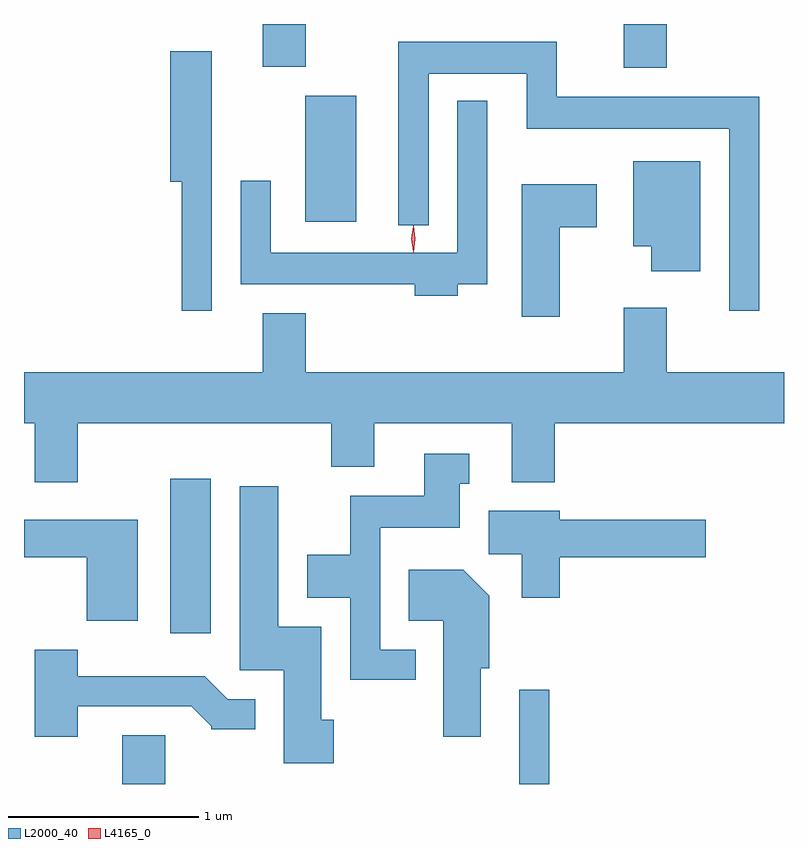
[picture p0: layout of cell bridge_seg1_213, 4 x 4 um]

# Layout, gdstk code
import gdstk
lib = gdstk.Library(unit=1e-6, precision=1e-09)
def R(c, l, rs):  # rectangles x0, y0, x1, y1
    for r in rs: c.add(gdstk.rectangle(r[:2], r[2:], *l))
def P(c, l, *ps):  # polygons
    for p in ps: c.add(gdstk.Polygon(p, *l))
L2000_40 = (2000, 40)
L4165_0 = (4165, 0)

bridge_seg1_213 = lib.new_cell('bridge_seg1_213')
R(bridge_seg1_213, L2000_40, [(827.761,875.477,827.989,875.734), (829.851,875.477,830.009,875.973), (828.016,876.271,828.229,877.084), (828.726,878.436,828.994,879.099), (830.401,879.246,830.629,879.477), (828.501,879.251,828.729,879.477)])
P(bridge_seg1_213, L2000_40, [(831.114,879.094),(830.049,879.094),(830.049,879.384),(829.216,879.384),(829.216,878.418),(829.374,878.418),(829.374,879.216),(829.891,879.216),(829.891,878.926),(830.956,878.926),(830.956,877.968),(831.114,877.968)],
  [(828.234,879.334),(828.016,879.334),(828.016,878.646),(828.076,878.646),(828.076,877.968),(828.234,877.968)],
  [(829.529,878.106),(829.684,878.106),(829.684,879.073),(829.526,879.073),(829.526,878.274),(828.544,878.274),(828.544,878.653),(828.386,878.653),(828.386,878.106),(829.301,878.106),(829.301,878.046),(829.529,878.046)],
  [(830.804,878.754),(830.451,878.754),(830.451,878.306),(830.546,878.306),(830.546,878.176),(830.804,878.176)],
  [(830.064,878.406),(830.259,878.406),(830.259,878.634),(829.866,878.634),(829.866,877.936),(830.064,877.936)],
  [(831.245,877.644),(830.629,877.644),(830.629,877.984),(830.401,877.984),(830.401,877.644),(828.729,877.644),(828.729,877.954),(828.501,877.954),(828.501,877.644),(827.245,877.644),(827.245,877.376),(827.301,877.376),(827.301,877.066),(827.529,877.066),(827.529,877.376),(828.861,877.376),(828.861,877.146),(829.089,877.146),(829.089,877.376),(829.811,877.376),(829.811,877.066),(830.039,877.066),(830.039,877.376),(831.245,877.376)],
  [(829.308,876.184),(829.119,876.184),(829.119,876.826),(829.539,876.826),(829.539,877.056),(829.588,877.056),(829.588,877.214),(829.351,877.214),(829.351,876.994),(828.961,876.994),(828.961,876.684),(828.736,876.684),(828.736,876.456),(828.961,876.456),(828.961,876.026),(829.308,876.026)],
  [(828.874,875.814),(828.809,875.814),(828.809,876.304),(828.584,876.304),(828.584,877.044),(828.381,877.044),(828.381,876.076),(828.611,876.076),(828.611,875.586),(828.874,875.586)],
  [(830.064,876.671),(830.834,876.671),(830.834,876.869),(830.064,876.869),(830.064,876.914),(829.691,876.914),(829.691,876.686),(829.866,876.686),(829.866,876.456),(830.064,876.456)],
  [(827.844,876.869),(827.245,876.869),(827.245,876.671),(827.576,876.671),(827.576,876.336),(827.844,876.336)],
  [(829.649,876.086),(829.694,876.086),(829.694,876.467),(829.557,876.604),(829.271,876.604),(829.271,876.336),(829.451,876.336),(829.451,875.726),(829.649,875.726)],
  [(827.529,875.886),(828.124,875.886),(828.23,875.78),(828.23,875.766),(828.463,875.766),(828.463,875.924),(828.317,875.924),(828.197,876.044),(827.529,876.044),(827.529,876.184),(827.301,876.184),(827.301,875.726),(827.529,875.726)])
P(bridge_seg1_213, L4165_0, [(829.294,878.277),(829.285,878.346),(829.294,878.416),(829.295,878.416),(829.296,878.416),(829.305,878.346),(829.296,878.277),(829.295,878.277)],
  [(829.294,878.279),(829.294,878.28),(829.284,878.346),(829.294,878.412),(829.294,878.413),(829.295,878.412),(829.304,878.346),(829.295,878.28)])

lib.write_gds('bridge_seg1_213.gds')
